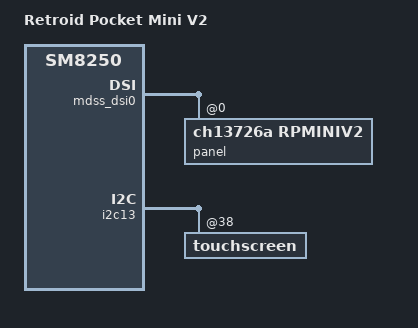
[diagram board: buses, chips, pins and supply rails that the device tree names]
// SPDX-License-Identifier: BSD-3-Clause
/*
 * Retroid Pocket Mini V2 (SM8250) — derived from the RP5 like the Flip 2.
 * The near-square 1080x1240 ch13726a panel variant and its touch geometry are
 * the only display differences; the shared common.dtsi carries all the DSI
 * electrical config. Panel rotation is dropped (RP5 uses 270) and the touch
 * axis inversions are removed to match the Mini V2's physical orientation —
 * this combination was hardware-validated on the device before baking.
 */

/dts-v1/;

#include "sm8250-retroidpocket-rp5.dts"

/ {
	model = "Retroid Pocket Mini V2";
	compatible = "retroidpocket,rpminiv2", "qcom,sm8250";
};

&mdss_dsi0 {
	panel@0 {
		compatible = "ch13726a,rpminiv2";
		/delete-property/ rotation;
	};
};

&i2c13 {
	touchscreen@38 {
		touchscreen-size-y = <1240>;
		/delete-property/ touchscreen-inverted-x;
		/delete-property/ touchscreen-inverted-y;
	};
};
